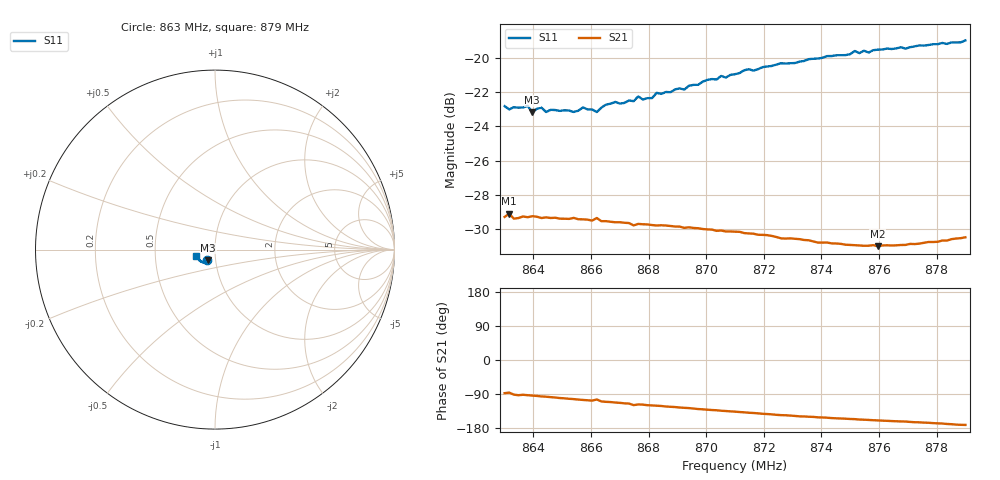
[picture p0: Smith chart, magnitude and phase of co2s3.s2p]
# HZ S RI R 50
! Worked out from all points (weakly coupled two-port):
!   101 points, 863 MHz to 879 MHz, reference 50 ohm
!   highest |S21| = -29.10 dB at 863.16 MHz (marker M1); lowest = -31.0 dB at 875.96 MHz (marker M2)
!   lowest |S11| = -23.2 dB at 863.96 MHz (marker M3), VSWR 1.15, Z = 46 - j5.33 ohm
!   |S11| at or under -10 dB: start of sweep to end of sweep
!   S12 and S22 are empty: the file has one direction only
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8.63e8  -0.0435 -0.0578  0.00148 -0.0343  0 0  0 0
8.6316e8  -0.039 -0.059  0.00242 -0.035  0 0  0 0
8.6332e8  -0.0418 -0.0584  -0.00083 -0.0339  0 0  0 0
8.638e8  -0.0433 -0.058  -0.00173 -0.0342  0 0  0 0
8.6396e8  -0.0386 -0.0577  -0.00233 -0.0344  0 0  0 0
8.6428e8  -0.0393 -0.0598  -0.00365 -0.0339  0 0  0 0
8.6444e8  -0.0399 -0.0569  -0.00408 -0.034  0 0  0 0
8.654e8  -0.0373 -0.0586  -0.00779 -0.0332  0 0  0 0
8.6572e8  -0.0367 -0.0615  -0.00895 -0.0326  0 0  0 0
8.662e8  -0.0314 -0.062  -0.0083 -0.033  0 0  0 0
8.6684e8  -0.0378 -0.064  -0.0125 -0.0306  0 0  0 0
8.6748e8  -0.0373 -0.0648  -0.0158 -0.0283  0 0  0 0
8.6764e8  -0.0392 -0.0665  -0.015 -0.0291  0 0  0 0
8.678e8  -0.0389 -0.0648  -0.0152 -0.0289  0 0  0 0
8.6812e8  -0.0391 -0.0655  -0.0162 -0.0282  0 0  0 0
8.6828e8  -0.0407 -0.0678  -0.0165 -0.0279  0 0  0 0
8.6844e8  -0.0397 -0.0678  -0.0169 -0.0277  0 0  0 0
8.71e8  -0.0533 -0.0721  -0.0225 -0.0215  0 0  0 0
8.7372e8  -0.0708 -0.0698  -0.0252 -0.0145  0 0  0 0
8.7596e8  -0.0867 -0.0605  -0.0264 -0.00991  0 0  0 0
8.7644e8  -0.0906 -0.0554  -0.0268 -0.00914  0 0  0 0
8.79e8  -0.1062 -0.0371  -0.0296 -0.00453  0 0  0 0
